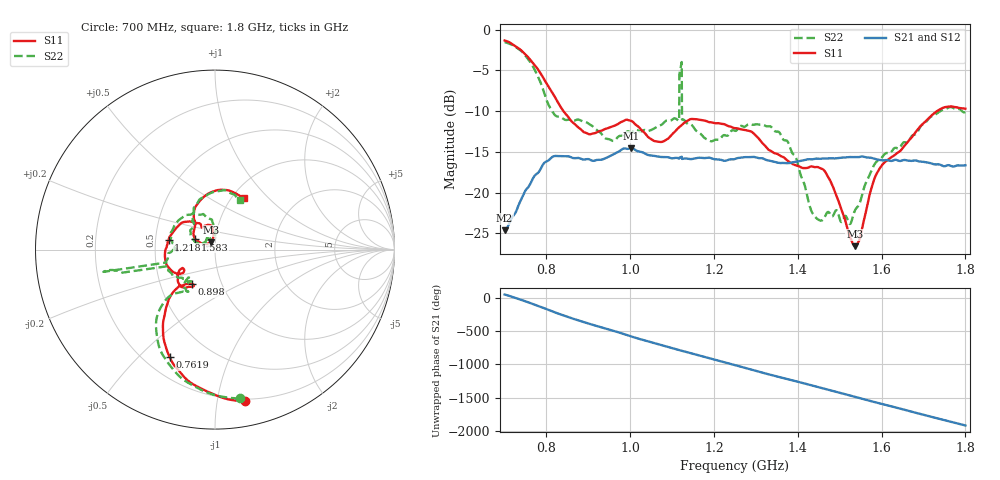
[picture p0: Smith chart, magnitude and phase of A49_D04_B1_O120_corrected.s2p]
! Created with skrf 1.9.0 (http://scikit-rf.org).
# Hz S RI R 50.0
!freq ReS11 ImS11 ReS21 ImS21 ReS12 ImS12 ReS22 ImS22
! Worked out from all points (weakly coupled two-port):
!   1601 points, 700 MHz to 1.8 GHz, reference 50 ohm
!   highest |S21| = -14.55 dB at 1.002 GHz (marker M1); lowest = -24.6 dB at 700 MHz (marker M2)
!   lowest |S11| = -26.6 dB at 1.536 GHz (marker M3), VSWR 1.10, Z = 47.7 + j3.95 ohm
!   |S11| at or under -10 dB: 840.4 MHz to 1.732 GHz (891.5 MHz wide, 69.3 % of centre)
!   |S22| runs from -23.9 to -1.5 dB; largest |S21 - S12| = 0.0034
!   S11 on the Smith chart (normalised r, x): 700 MHz: 0.19, -1.20; 761.9 MHz: 0.30, -0.62; 898 MHz: 0.72, -0.29; 1.218 GHz: 0.59, +0.07; 1.583 GHz: 0.80, +0.09; 1.8 GHz: 1.13, +0.73
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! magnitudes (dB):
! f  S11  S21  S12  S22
! 700 MHz  -1.3  -24.6  -24.4  -1.5
! 761.9 MHz  -3.7  -18.9  -18.8  -4.0
! 818.9 MHz  -8.2  -15.5  -15.6  -10.4
! 883.6 MHz  -12.3  -15.9  -15.8  -11.2
! 898 MHz  -12.8  -15.9  -15.9  -11.5
! 1.002 GHz  -11.2  -14.5  -14.7  -12.6
! 1.067 GHz  -13.8  -15.6  -15.5  -11.8
! 1.111 GHz  -12.3  -15.7  -15.8  -11.0
! 1.117 GHz  -11.9  -15.7  -15.7  -5.5
! 1.123 GHz  -11.7  -15.6  -15.5  -4.0
! 1.129 GHz  -11.4  -15.8  -15.9  -11.1
! 1.218 GHz  -11.6  -16.0  -16.0  -13.2
! 1.25 GHz  -12.1  -15.9  -15.8  -12.4
! 1.356 GHz  -15.4  -16.4  -16.3  -12.6
! 1.396 GHz  -16.6  -16.2  -16.2  -15.7
! 1.434 GHz  -16.8  -15.9  -15.9  -22.4
! 1.473 GHz  -18.2  -15.8  -15.8  -22.4
! 1.536 GHz  -26.6  -15.6  -15.6  -22.2
! 1.583 GHz  -18.2  -15.8  -15.9  -16.5
! 1.617 GHz  -15.9  -16.1  -16.0  -15.2
! 1.733 GHz  -10.0  -16.5  -16.6  -10.3
! 1.8 GHz  -9.7  -16.6  -16.6  -10.1
